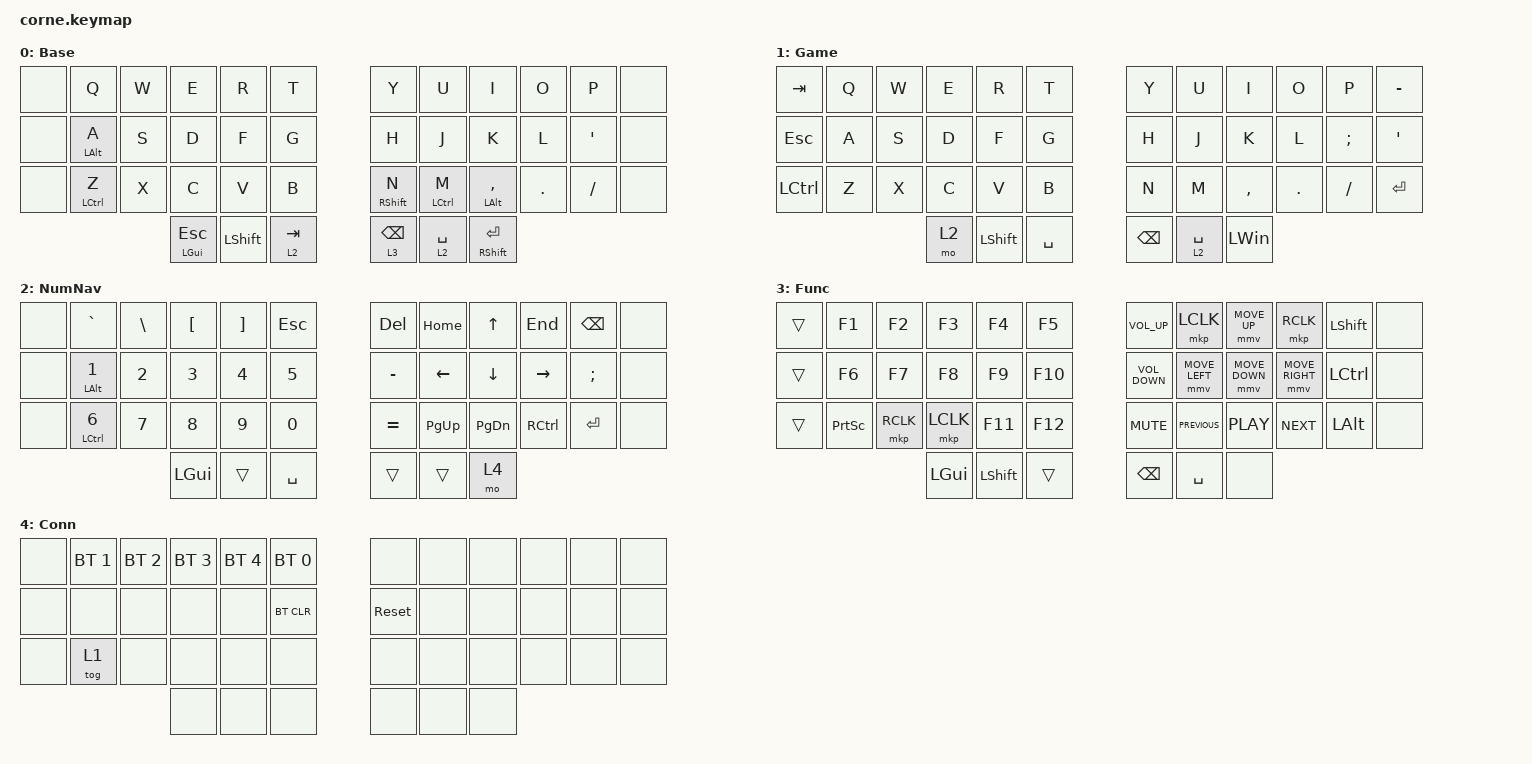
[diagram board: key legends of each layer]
/*
 * Copyright (c) 2020 The ZMK Contributors
 *
 * SPDX-License-Identifier: MIT
 */

#include <behaviors.dtsi>
#include <dt-bindings/zmk/bt.h>
#include <dt-bindings/zmk/keys.h>
#include <dt-bindings/zmk/mouse.h>

&lt { quick-tap-ms = <150>; };

&mt {
    quick-tap-ms = <150>;
    flavor = "tap-preferred";
};

&mmv {
};

&msc {
};

/ {
    combos {
        compatible = "zmk,combos";

        mid-mouse {
            bindings = <&mkp MCLK>;
            key-positions = <7 9>;
            layers = <3>;
        };

        mb3 {
            bindings = <&mkp MCLK>;
            key-positions = <26 27>;
            layers = <3>;
        };
    };

    keymap {
        compatible = "zmk,keymap";

        default_layer {
            // -----------------------------------------------------------------------------------------
            // |  TAB |  Q  |  W  |  E  |  R  |  T  |   |  Y  |  U   |  I  |  O  |  P  | BKSP |
            // | CTRL |  A  |  S  |  D  |  F  |  G  |   |  H  |  J   |  K  |  L  |  ;  |  '   |
            // | SHFT |  Z  |  X  |  C  |  V  |  B  |   |  N  |  M   |  ,  |  .  |  /  | ESC  |
            //                    | GUI | LWR | SPC |   | ENT | RSE  | ALT |

            display-name = "Base";
            bindings = <
&none  &kp Q           &kp W  &kp E            &kp R           &kp T        &kp Y              &kp U        &kp I             &kp O    &kp P     &none
&none  &mt LEFT_ALT A  &kp S  &kp D            &kp F           &kp G        &kp H              &kp J        &kp K             &kp L    &kp SQT   &none
&none  &mt LCTRL Z     &kp X  &kp C            &kp V           &kp B        &mt RIGHT_SHIFT N  &mt LCTRL M  &mt LALT COMMA    &kp DOT  &kp FSLH  &none
                              &mt LGUI ESCAPE  &kp LEFT_SHIFT  &lt 2 TAB    &lt 3 BACKSPACE    &lt 2 SPACE  &mt RSHIFT ENTER
            >;
        };

        gaming {
            bindings = <
&kp TAB    &kp Q  &kp W  &kp E  &kp R      &kp T        &kp Y          &kp U        &kp I         &kp O    &kp P     &kp MINUS
&kp ESC    &kp A  &kp S  &kp D  &kp F      &kp G        &kp H          &kp J        &kp K         &kp L    &kp SEMI  &kp APOS
&kp LCTRL  &kp Z  &kp X  &kp C  &kp V      &kp B        &kp N          &kp M        &kp COMMA     &kp DOT  &kp FSLH  &kp ENTER
                         &mo 2  &kp LSHFT  &kp SPACE    &kp BACKSPACE  &lt 2 SPACE  &kp LEFT_WIN
            >;

            label = "Game";
        };

        num_nav {
            // -----------------------------------------------------------------------------------------
            // |  TAB |  1  |  2  |  3  |  4  |  5  |   |  6  |  7  |  8  |  9  |  0  | BKSP |
            // | BTCLR| BT1 | BT2 | BT3 | BT4 | BT5 |   | LFT | DWN |  UP | RGT |     |      |
            // | SHFT |     |     |     |     |     |   |     |     |     |     |     |      |
            //                    | GUI |     | SPC |   | ENT |     | ALT |

            display-name = "NumNav";
            bindings = <
&none  &kp GRAVE              &kp BACKSLASH  &kp LBKT  &kp RBKT  &kp ESC      &kp DEL    &kp HOME     &kp UP_ARROW   &kp END    &kp BACKSPACE  &none
&none  &mt LEFT_ALT NUMBER_1  &kp N2         &kp N3    &kp N4    &kp N5       &kp MINUS  &kp LEFT     &kp DOWN       &kp RIGHT  &kp SEMICOLON  &none
&none  &mt LCTRL NUMBER_6     &kp N7         &kp N8    &kp N9    &kp N0       &kp EQUAL  &kp PAGE_UP  &kp PAGE_DOWN  &kp RCTRL  &kp ENTER      &none
                                             &kp LGUI  &trans    &kp SPACE    &trans     &trans       &mo 4
            >;
        };

        function {
            // -----------------------------------------------------------------------------------------
            // |  TAB |  !  |  @  |  #  |  $  |  %  |   |  ^  |  &  |  *  |  (  |  )  | BKSP |
            // | CTRL |     |     |     |     |     |   |  -  |  =  |  [  |  ]  |  \  |  `   |
            // | SHFT |     |     |     |     |     |   |  _  |  +  |  {  |  }  | "|" |  ~   |
            //                    | GUI |     | SPC |   | ENT |     | ALT |

            display-name = "Func";
            bindings = <
&trans  &kp F1           &kp F2     &kp F3     &kp F4          &kp F5     &kp C_VOLUME_UP    &mkp LCLK       &mmv MOVE_UP    &mkp RCLK        &kp LSHFT     &none
&trans  &kp F6           &kp F7     &kp F8     &kp F9          &kp F10    &kp C_VOLUME_DOWN  &mmv MOVE_LEFT  &mmv MOVE_DOWN  &mmv MOVE_RIGHT  &kp LCTRL     &none
&trans  &kp PRINTSCREEN  &mkp RCLK  &mkp LCLK  &kp F11         &kp F12    &kp C_MUTE         &kp C_PREVIOUS  &kp C_PLAY      &kp C_NEXT       &kp LEFT_ALT  &none
                                    &kp LGUI   &kp LEFT_SHIFT  &trans     &kp BACKSPACE      &kp SPACE       &none
            >;
        };

        connect {
            bindings = <
&none  &bt BT_SEL 1  &bt BT_SEL 2  &bt BT_SEL 3  &bt BT_SEL 4  &bt BT_SEL 0    &none       &none  &none  &none  &none  &none
&none  &none         &none         &none         &none         &bt BT_CLR      &sys_reset  &none  &none  &none  &none  &none
&none  &tog 1        &none         &none         &none         &none           &none       &none  &none  &none  &none  &none
                                   &none         &none         &none           &none       &none  &none
            >;

            label = "Conn";
        };
    };
};
